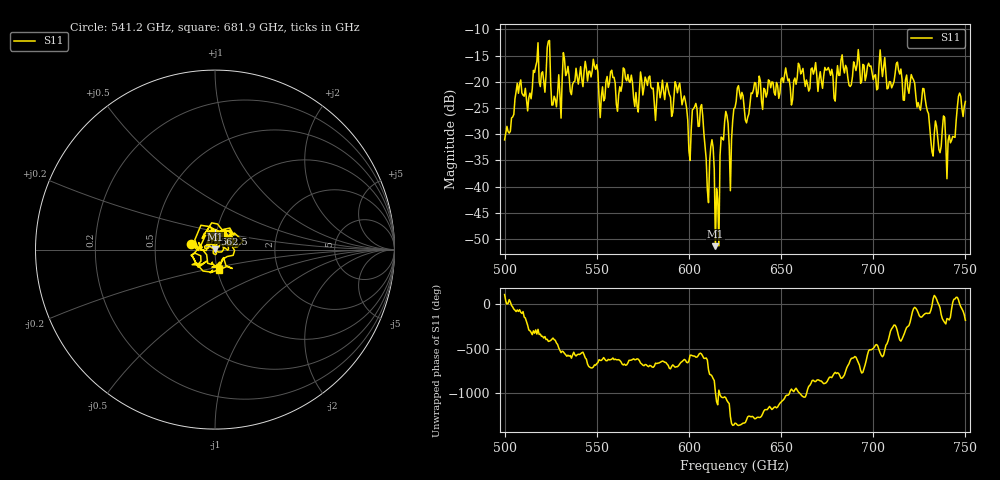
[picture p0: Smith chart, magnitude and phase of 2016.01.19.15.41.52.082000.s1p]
!Created with skrf (http://scikit-rf.org).
# GHz S RI R 50.0
!freq ReS11 ImS11
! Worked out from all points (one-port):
!   401 points, 500 GHz to 750 GHz, reference 50 ohm
!   lowest |S11| = -51.3 dB at 614.4 GHz (marker M1), VSWR 1.01, Z = 50 + j0.27 ohm
!   |S11| at or under -10 dB: start of sweep to end of sweep
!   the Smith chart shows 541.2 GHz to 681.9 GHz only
!   S11 on the Smith chart (normalised r, x): 541.2 GHz: 0.76, +0.05; 562.5 GHz: 0.98, +0.18; 681.9 GHz: 1.01, -0.23
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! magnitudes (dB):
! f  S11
! 500 GHz  -31.1
! 507.5 GHz  -22.2
! 513.8 GHz  -22.2
! 516.9 GHz  -17.0
! 520.6 GHz  -18.1
! 523.8 GHz  -12.3
! 526.9 GHz  -22.8
! 531.2 GHz  -19.3
! 541.2 GHz  -17.1
! 562.5 GHz  -20.9
! 593.8 GHz  -22.1
! 600 GHz  -33.2
! 606.9 GHz  -24.3
! 609.4 GHz  -34.7
! 612.5 GHz  -31.0
! 614.4 GHz  -51.3
! 615.6 GHz  -42.4
! 618.8 GHz  -31.1
! 622.5 GHz  -40.8
! 625 GHz  -24.9
! 656.2 GHz  -23.4
! 681.9 GHz  -18.8
! 687.5 GHz  -20.9
! 705 GHz  -19.0
! 718.8 GHz  -21.2
! 740.6 GHz  -31.2
! 746.2 GHz  -22.8
! 750 GHz  -23.7
